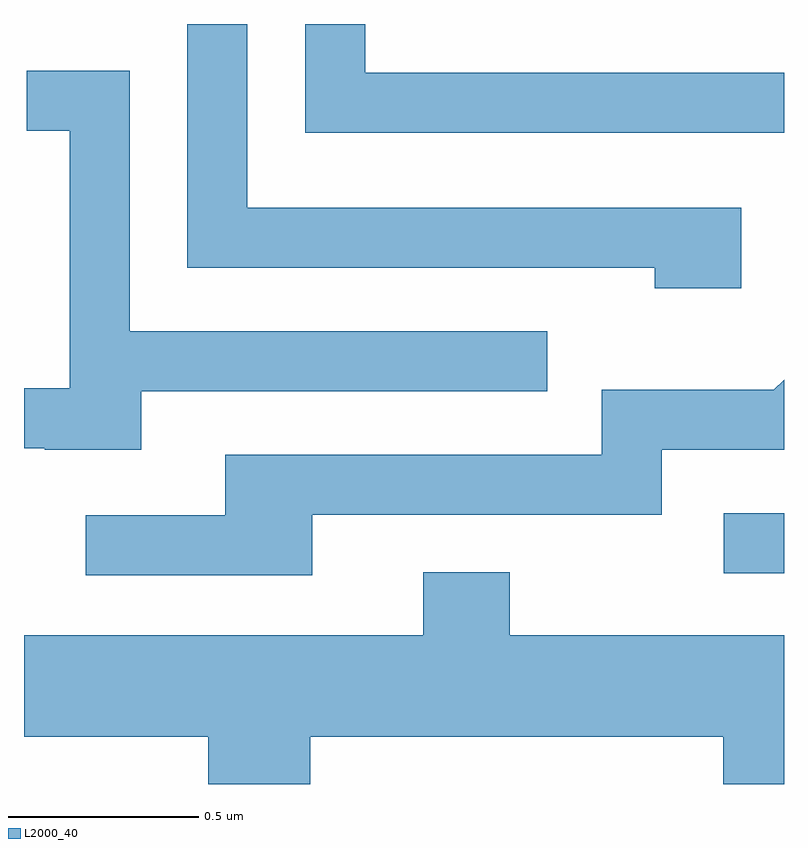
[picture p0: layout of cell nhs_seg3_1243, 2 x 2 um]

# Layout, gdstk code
import gdstk
lib = gdstk.Library(unit=1e-6, precision=1e-09)
def R(c, l, rs):  # rectangles x0, y0, x1, y1
    for r in rs: c.add(gdstk.rectangle(r[:2], r[2:], *l))
def P(c, l, *ps):  # polygons
    for p in ps: c.add(gdstk.Polygon(p, *l))
L2000_40 = (2000, 40)

nhs_seg3_1243 = lib.new_cell('nhs_seg3_1243')
R(nhs_seg3_1243, L2000_40, [(196.453,1126.446,196.611,1126.604)])
P(nhs_seg3_1243, L2000_40, [(196.611,1127.764),(195.509,1127.764),(195.509,1127.892),(195.351,1127.892),(195.351,1127.606),(196.611,1127.606)],
  [(196.499,1127.409),(195.199,1127.409),(195.199,1127.892),(195.041,1127.892),(195.041,1127.251),(196.271,1127.251),(196.271,1127.196),(196.499,1127.196)],
  [(194.919,1126.926),(195.988,1126.926),(195.988,1127.084),(194.889,1127.084),(194.889,1127.769),(194.618,1127.769),(194.618,1127.611),(194.731,1127.611),(194.731,1126.934),(194.611,1126.934),(194.611,1126.776),(194.665,1126.776),(194.665,1126.771),(194.919,1126.771)],
  [(195.369,1126.601),(196.289,1126.601),(196.289,1126.771),(196.611,1126.771),(196.611,1126.956),(196.584,1126.929),(196.131,1126.929),(196.131,1126.759),(195.141,1126.759),(195.141,1126.599),(194.773,1126.599),(194.773,1126.441),(195.369,1126.441)],
  [(195.364,1126.016),(196.451,1126.016),(196.451,1125.892),(196.611,1125.892),(196.611,1126.284),(195.889,1126.284),(195.889,1126.449),(195.661,1126.449),(195.661,1126.284),(194.611,1126.284),(194.611,1126.016),(195.096,1126.016),(195.096,1125.892),(195.364,1125.892)])

lib.write_gds('nhs_seg3_1243.gds')
